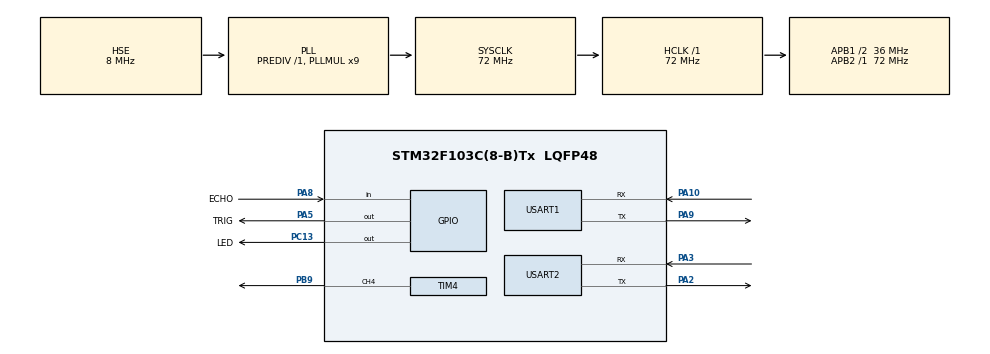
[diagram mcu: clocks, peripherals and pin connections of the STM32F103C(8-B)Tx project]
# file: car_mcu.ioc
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Mcu.Family=STM32F1
Mcu.Name=STM32F103C(8-B)Tx
Mcu.Package=LQFP48
NVIC.PriorityGroup=NVIC_PRIORITYGROUP_4
NVIC.TIM2_IRQn=true\:0\:0\:false\:false\:true\:true\:true\:true
NVIC.USART2_IRQn=true\:0\:0\:false\:false\:true\:true\:true\:true
PA10.Mode=Asynchronous
PA10.Signal=USART1_RX
PA13.Mode=Serial_Wire
PA13.Signal=SYS_JTMS-SWDIO
PA14.Mode=Serial_Wire
PA14.Signal=SYS_JTCK-SWCLK
PA2.Mode=Asynchronous
PA2.Signal=USART2_TX
PA3.Mode=Asynchronous
PA3.Signal=USART2_RX
PA5.GPIO_Label=TRIG
PA5.Signal=GPIO_Output
PA8.GPIO_Label=ECHO
PA8.Signal=GPIO_Input
PA9.Mode=Asynchronous
PA9.Signal=USART1_TX
PB9.Signal=S_TIM4_CH4
PC13-TAMPER-RTC.GPIO_Label=LED
PC13-TAMPER-RTC.Signal=GPIO_Output
PD0-OSC_IN.Mode=HSE-External-Oscillator
PD0-OSC_IN.Signal=RCC_OSC_IN
PD1-OSC_OUT.Mode=HSE-External-Oscillator
PD1-OSC_OUT.Signal=RCC_OSC_OUT
ProjectManager.HeapSize=0x200
ProjectManager.StackSize=0x400
ProjectManager.TargetToolchain=MDK-ARM V5
RCC.AHBFreq_Value=72000000
RCC.APB1CLKDivider=RCC_HCLK_DIV2
RCC.APB1Freq_Value=36000000
RCC.APB1TimFreq_Value=72000000
RCC.APB2Freq_Value=72000000
RCC.APB2TimFreq_Value=72000000
RCC.HCLKFreq_Value=72000000
RCC.PLLMUL=RCC_PLL_MUL9
RCC.PLLSourceVirtual=RCC_PLLSOURCE_HSE
RCC.SYSCLKFreq_VALUE=72000000
RCC.SYSCLKSource=RCC_SYSCLKSOURCE_PLLCLK
RCC.USBFreq_Value=72000000
SH.S_TIM4_CH4.0=TIM4_CH4,PWM Generation4 CH4
TIM2.Period=999
TIM2.Prescaler=7199
TIM3.Prescaler=71
TIM4.AutoReloadPreload=TIM_AUTORELOAD_PRELOAD_ENABLE
TIM4.Channel-PWM\ Generation4\ CH4=TIM_CHANNEL_4
TIM4.Period=19999
TIM4.Prescaler=71
TIM4.Pulse-PWM\ Generation4\ CH4=1500
USART1.VirtualMode=VM_ASYNC
USART2.VirtualMode=VM_ASYNC
VP_TIM2_VS_ClockSourceINT.Mode=Internal
VP_TIM3_VS_ClockSourceINT.Mode=Internal
board=custom

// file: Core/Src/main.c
/* USER CODE BEGIN Header */
/**
  ******************************************************************************
  * @file           : main.c
  * @brief          : Main program body
  ******************************************************************************
  * @attention
  *
  * Copyright (c) 2026 STMicroelectronics.
  * All rights reserved.
  *
  * This software is licensed under terms that can be found in the LICENSE file
  * in the root directory of this software component.
  * If no LICENSE file comes with this software, it is provided AS-IS.
  *
  ******************************************************************************
  */
/* USER CODE END Header */
#include "main.h"
#include "tim.h"
#include "usart.h"
#include "gpio.h"

/* USER CODE BEGIN Includes */
#include <stdio.h>

/* USER CODE END Includes */

/* USER CODE BEGIN PV */
static const uint8_t kDummy[8] = { 0xAA, 0x55, 0x06, 0x81, 0x01, 0x0E, 0x03, 0x00 };
volatile uint8_t g_tick_100ms= 0;
volatile uint8_t g_loss_cnt = 0;

uint8_t g_rx2 = 0;
uint8_t g_tx_cnt = 0;

volatile uint32_t g_dist_cm = 0;
volatile uint32_t g_raw_us = 0;
volatile uint8_t  g_angle_last = 90;   /* CPU 最近发来的角度（雷达上报用） */

/* ---- 距离滤波：最近 3 次有效值 + 中值 ---- */
uint16_t g_dbuf[3] = { 0, 0, 0 };
uint8_t  g_didx = 0;
uint8_t  g_dcount = 0;
int16_t  g_last_sent = -100;        /* 上次发给 CPU 的距离，-100 = 还没发过 */

uint16_t g_servo_ang = 0;
uint8_t g_servo_dir = 1;
/* USER CODE END PV */

void SystemClock_Config(void);

/* USER CODE BEGIN 0 */

/* 三个数取中值：天然抗离群值（比平均值好，不会被单个坏值带偏） */
static uint16_t median3(uint16_t a, uint16_t b, uint16_t c)
{
    if ((a <= b) && (b <= c)) return b;
    if ((c <= b) && (b <= a)) return b;
    if ((b <= a) && (a <= c)) return a;
    if ((c <= a) && (a <= b)) return a;
    return c;
}
static uint32_t hcsr04_read_cm(void)
{
    uint32_t t0, t1;

    HAL_GPIO_WritePin(TRIG_GPIO_Port, TRIG_Pin, GPIO_PIN_SET);
    t0 = __HAL_TIM_GET_COUNTER(&htim3);
    while (__HAL_TIM_GET_COUNTER(&htim3) - t0 < 15) {
        /* 等待 10us */
    }
    HAL_GPIO_WritePin(TRIG_GPIO_Port, TRIG_Pin, GPIO_PIN_RESET);

    t0 = __HAL_TIM_GET_COUNTER(&htim3);
    while (HAL_GPIO_ReadPin(ECHO_GPIO_Port, ECHO_Pin) == GPIO_PIN_RESET) {
        if ((__HAL_TIM_GET_COUNTER(&htim3) - t0) > 5000) return 999;
    }

    t0 = __HAL_TIM_GET_COUNTER(&htim3);
    while (HAL_GPIO_ReadPin(ECHO_GPIO_Port, ECHO_Pin) == GPIO_PIN_SET) {
        if ((__HAL_TIM_GET_COUNTER(&htim3) - t0) > 30000) return 998;
    }

    t1 = __HAL_TIM_GET_COUNTER(&htim3);
    g_raw_us = t1 - t0;
    return g_raw_us / 58;  /* cm */
}
/* USER CODE END 0 */

int main(void)
{

  /* MCU Configuration--------------------------------------------------------*/

  /* Reset of all peripherals, Initializes the Flash interface and the Systick. */
  HAL_Init();

  /* Configure the system clock */
  SystemClock_Config();

  /* Initialize all configured peripherals */
  MX_GPIO_Init();
  MX_TIM2_Init();
  MX_USART1_UART_Init();
  MX_USART2_UART_Init();
  MX_TIM4_Init();
  MX_TIM3_Init();
  /* USER CODE BEGIN 2 */
  HAL_TIM_Base_Start_IT(&htim2);
  HAL_UART_Receive_IT(&huart2, &g_rx2, 1);
  HAL_GPIO_WritePin(GPIOC, GPIO_PIN_13, GPIO_PIN_SET);

  HAL_TIM_PWM_Start(&htim4, TIM_CHANNEL_4);
  __HAL_TIM_SET_COMPARE(&htim4, TIM_CHANNEL_4, 1500);

  HAL_TIM_Base_Start(&htim3);  /* 用于测距的定时器 */
  /* USER CODE END 2 */

  /* Infinite loop */
  while (1)
  {

    /* USER CODE BEGIN 3 */
    if (g_tick_100ms) {
        g_tick_100ms = 0;

        /* ---- 1. 测距 ---- */
        g_dist_cm = hcsr04_read_cm();

        /* ---- 2. 调试输出（原始值）---- */
        char buf[40];
        int n = snprintf(buf, sizeof(buf), "a=%u d=%lu\r\n",
                         (unsigned)g_angle_last,
                         (unsigned long)g_dist_cm);
        if (n > 0) HAL_UART_Transmit(&huart1, (uint8_t *)buf, n, 100);

        /* ---- 3. 只处理有效测量（失败就不发，舵机保持原位）---- */
        if (g_dist_cm < 998) {

            /* 3.1 进环形缓冲 */
            g_dbuf[g_didx] = (uint16_t)g_dist_cm;
            g_didx = (uint8_t)((g_didx + 1) % 3);
            if (g_dcount < 3) g_dcount++;

            /* 3.2 攒满 3 个取中值 */
            if (g_dcount >= 3) {
                uint16_t med = median3(g_dbuf[0], g_dbuf[1], g_dbuf[2]);
                uint8_t  d   = (med > 180) ? 180 : (uint8_t)med;

                /* 3.3 死区：变化 >= 3cm 才发，减少抖动 */
                int16_t diff = (int16_t)d - g_last_sent;
                if (diff < 0) diff = (int16_t)(-diff);

                if (g_last_sent < 0 || diff >= 3) {
                    g_last_sent = (int16_t)d;
                    HAL_UART_Transmit(&huart2, &d, 1, 10);
                }
            }
        }
    }
  }
    /* USER CODE END 3 */
}

void SystemClock_Config(void)
{
  RCC_OscInitTypeDef RCC_OscInitStruct = {0};
  RCC_ClkInitTypeDef RCC_ClkInitStruct = {0};

  /** Initializes the RCC Oscillators according to the specified parameters
  * in the RCC_OscInitTypeDef structure.
  */
  RCC_OscInitStruct.OscillatorType = RCC_OSCILLATORTYPE_HSE;
  RCC_OscInitStruct.HSEState = RCC_HSE_ON;
  RCC_OscInitStruct.HSEPredivValue = RCC_HSE_PREDIV_DIV1;
  RCC_OscInitStruct.HSIState = RCC_HSI_ON;
  RCC_OscInitStruct.PLL.PLLState = RCC_PLL_ON;
  RCC_OscInitStruct.PLL.PLLSource = RCC_PLLSOURCE_HSE;
  RCC_OscInitStruct.PLL.PLLMUL = RCC_PLL_MUL9;
  if (HAL_RCC_OscConfig(&RCC_OscInitStruct) != HAL_OK)
  {
    Error_Handler();
  }

  /** Initializes the CPU, AHB and APB buses clocks
  */
  RCC_ClkInitStruct.ClockType = RCC_CLOCKTYPE_HCLK|RCC_CLOCKTYPE_SYSCLK
                              |RCC_CLOCKTYPE_PCLK1|RCC_CLOCKTYPE_PCLK2;
  RCC_ClkInitStruct.SYSCLKSource = RCC_SYSCLKSOURCE_PLLCLK;
  RCC_ClkInitStruct.AHBCLKDivider = RCC_SYSCLK_DIV1;
  RCC_ClkInitStruct.APB1CLKDivider = RCC_HCLK_DIV2;
  RCC_ClkInitStruct.APB2CLKDivider = RCC_HCLK_DIV1;

  if (HAL_RCC_ClockConfig(&RCC_ClkInitStruct, FLASH_LATENCY_2) != HAL_OK)
  {
    Error_Handler();
  }
}

/* USER CODE BEGIN 4 */
void HAL_TIM_PeriodElapsedCallback(TIM_HandleTypeDef *htim)
{
  if (htim->Instance == TIM2) {
    g_tick_100ms = 1;

    /* ---- 失联保护：300ms 没收到新角度就关脉宽 ---- */
    if (g_loss_cnt < 255) {
      g_loss_cnt++;
    }
    if (g_loss_cnt >= 20)   /* 2 秒（有死区，故意不发是正常的） */ {
      __HAL_TIM_SET_COMPARE(&htim4, TIM_CHANNEL_4, 0);
    }
  }
}

void HAL_UART_RxCpltCallback(UART_HandleTypeDef *huart)
{
    if (huart->Instance == USART2) {
      static uint8_t n = 0;

      g_loss_cnt = 0;
      uint32_t ang = g_rx2;
      if (ang > 180) ang = 180;
      g_angle_last = (uint8_t)ang;          /* 雷达：记下 CPU 当前扫描到的角度 */
      __HAL_TIM_SET_COMPARE(&htim4, TIM_CHANNEL_4, 500 + (ang * 2000) / 180);

      if (++n >= 20) { n = 0; HAL_GPIO_TogglePin(GPIOC, GPIO_PIN_13); }

      g_rx2 = 0;
      HAL_UART_Receive_IT(&huart2, &g_rx2, 1);
    }
}
/* USER CODE END 4 */

void Error_Handler(void)
{
  __disable_irq();
  while (1)
  {
  }
}
